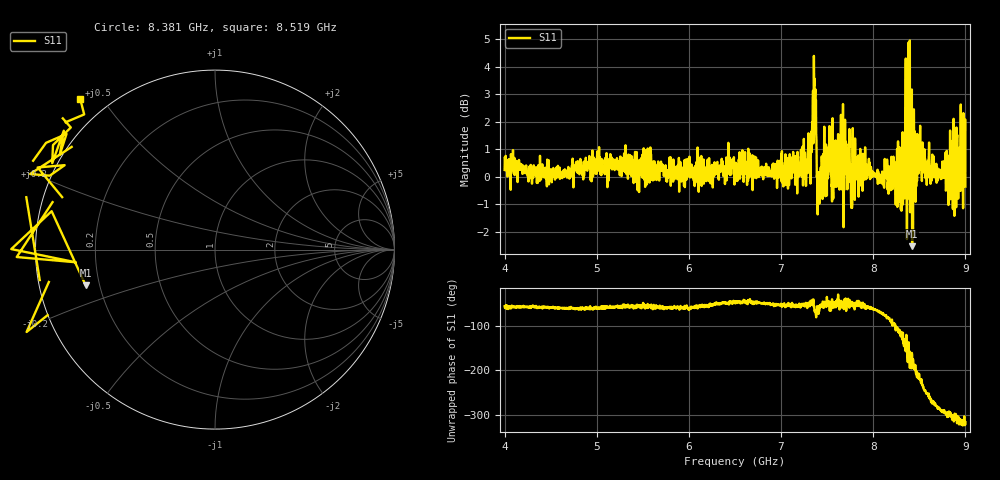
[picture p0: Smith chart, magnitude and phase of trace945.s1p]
! Created with skrf 1.8.0 (http://scikit-rf.org).
# Hz S RI R 50.0
!freq ReS11 ImS11
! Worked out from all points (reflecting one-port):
!   1601 points, 4 GHz to 9 GHz, reference 50 ohm
!   lowest |S11| = -2.5 dB at 8.422 GHz (marker M1), VSWR 6.93, Z = 7.35 - j6.65 ohm
!   phase of S11 starts at -56 deg and turns -261 deg over the sweep
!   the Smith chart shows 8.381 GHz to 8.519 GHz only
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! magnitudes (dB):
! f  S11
! 4 GHz  0.3
! 4.625 GHz  -0.1
! 5.25 GHz  0.1
! 5.875 GHz  -0.1
! 6.5 GHz  0.0
! 7.125 GHz  0.5
! 7.294 GHz  1.0
! 7.359 GHz  3.3
! 7.412 GHz  -0.3
! 7.512 GHz  0.5
! 7.588 GHz  0.0
! 7.672 GHz  2.6
! 7.75 GHz  -0.2
! 8.097 GHz  0.2
! 8.259 GHz  1.0
! 8.316 GHz  0.7
! 8.334 GHz  0.5
! 8.347 GHz  1.8
! 8.375 GHz  1.0
! 8.391 GHz  1.2
! 8.394 GHz  0.0
! 8.412 GHz  0.8
! 8.422 GHz  -2.5
! 8.447 GHz  1.7
! 8.466 GHz  -0.3
! 8.812 GHz  0.8
! 8.972 GHz  0.6
! 9 GHz  -0.4
